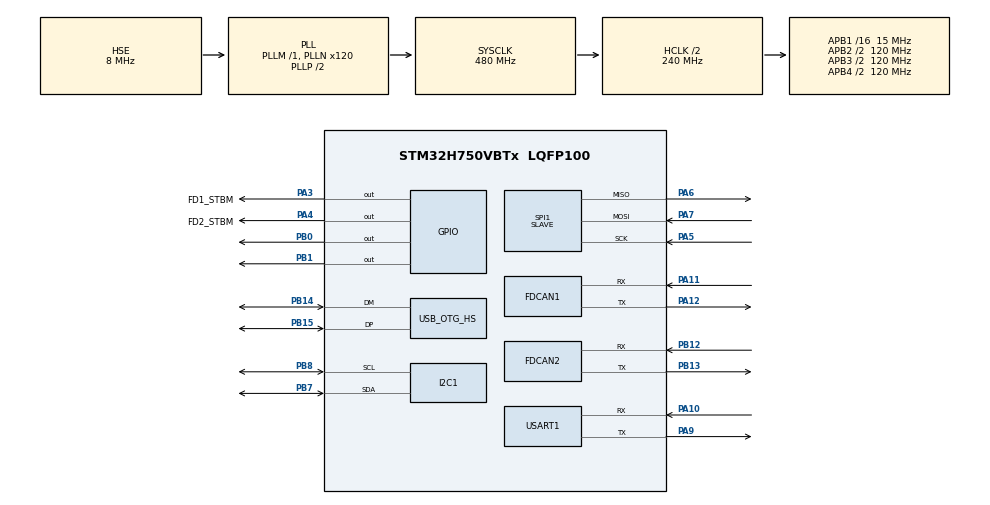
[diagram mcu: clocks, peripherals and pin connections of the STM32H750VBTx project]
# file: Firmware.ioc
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Mcu.Family=STM32H7
NVIC.OTG_HS_IRQn=true\:0\:0\:false\:false\:true\:false\:true
PA6.Mode=Full_Duplex_Slave
TIM2.Channel-Output\ Compare1\ No\ Output=TIM_CHANNEL_1
VP_USB_DEVICE_VS_USB_DEVICE_CDC_HS.Mode=CDC_HS
RCC.CortexFreq_Value=480000000
SPI1.VirtualType=VM_SLAVE
RCC.HPRE=RCC_HCLK_DIV2
PH0-OSC_IN\ (PH0).Signal=RCC_OSC_IN
PC15-OSC32_OUT\ (OSC32_OUT).Mode=LSE-External-Oscillator
FDCAN2.RxFifo0ElmtsNbr=20
RCC.PLLFRACN=0
VP_RTC_VS_RTC_Activate.Mode=RTC_Enabled
PA11.Mode=FDCAN_Activate
NVIC.TIM1_UP_IRQn=true\:0\:0\:false\:false\:true\:false\:true
RCC.PLL2FRACN=0
PA15\ (JTDI).Signal=DEBUG_JTDI
PB15.Signal=USB_OTG_HS_DP
PB13.Signal=FDCAN2_TX
RCC.SYSCLKSource=RCC_SYSCLKSOURCE_PLLCLK
ProjectManager.StackSize=0x400
PA14\ (JTCK/SWCLK).Signal=DEBUG_JTCK-SWCLK
PA15\ (JTDI).Mode=JTAG_5_pins
PA12.Signal=FDCAN1_TX
SPI1.Direction=SPI_DIRECTION_2LINES
RCC.HCLKFreq_Value=240000000
FDCAN1.RxFifo1ElmtSize=FDCAN_DATA_BYTES_8
USB_DEVICE.VirtualMode-CDC_HS=Cdc
PH1-OSC_OUT\ (PH1).Mode=HSE-External-Oscillator
RCC.HSE_VALUE=8000000
VP_TIM2_VS_no_output1.Mode=Output Compare1 No Output
FDCAN1.Mode=FDCAN_MODE_EXTERNAL_LOOPBACK
RCC.DIVM1=1
USART1.VirtualMode-LIN=VM_LIN
USB_DEVICE.USBD_DEBUG_LEVEL-CDC_HS=3
FDCAN1.RxBufferSize=FDCAN_DATA_BYTES_8
PB14.Mode=Device_Only_FS
VP_SYS_VS_tim1.Mode=TIM1
FDCAN1.NominalPrescaler=2
PB7.Signal=I2C1_SDA
PA14\ (JTCK/SWCLK).Mode=JTAG_5_pins
NVIC.FDCAN1_IT1_IRQn=true\:0\:0\:false\:false\:true\:true\:true
FDCAN1.NominalTimeSeg2=3
FDCAN1.NominalTimeSeg1=4
RCC.APB3Freq_Value=120000000
Mcu.Package=LQFP100
TIM2.Prescaler=29
PB1.Signal=GPIO_Output
PA6.Signal=SPI1_MISO
PB12.Mode=FDCAN_Activate
NVIC.TimeBase=TIM1_UP_IRQn
RCC.PLL3FRACN=0
RCC.D1PPRE=RCC_APB3_DIV2
FDCAN1.RxFifo0ElmtsNbr=64
NVIC.TimeBaseIP=TIM1
PA10.Signal=USART1_RX
VP_RTC_VS_RTC_Calendar.Mode=RTC_Calendar
USB_DEVICE.CLASS_NAME_HS=CDC
USB_DEVICE.VirtualModeHS=Cdc_HS
PC14-OSC32_IN\ (OSC32_IN).Mode=LSE-External-Oscillator
RCC.APB4Freq_Value=120000000
FDCAN1.DataTimeSeg2=3
FDCAN1.DataTimeSeg1=4
PB13.Mode=FDCAN_Activate
USB_OTG_HS.dma_enable-Device_Only_FS=DISABLE
PA4.GPIO_Label=FD2_STBM
PH0-OSC_IN\ (PH0).Mode=HSE-External-Oscillator
FDCAN2.RxFifo1ElmtsNbr=20
PA3.Signal=GPIO_Output
NVIC.FDCAN1_IT0_IRQn=true\:0\:0\:false\:false\:true\:true\:true
PA5.Mode=Full_Duplex_Slave
CORTEX_M7.CPU_ICache=Enabled
RCC.DIVQ1=20
PA7.Mode=Full_Duplex_Slave
PA13\ (JTMS/SWDIO).Mode=JTAG_5_pins
PA10.Mode=LIN
FDCAN1.ProtocolException=ENABLE
RCC.D2PPRE2=RCC_APB2_DIV2
RCC.D2PPRE1=RCC_APB1_DIV16
FDCAN1.RxFifo0ElmtSize=FDCAN_DATA_BYTES_8
FDCAN2.TxBuffersNbr=0
USB_OTG_HS.VirtualMode-Device_Only_FS=Device_Only_FS
PH1-OSC_OUT\ (PH1).Signal=RCC_OSC_OUT
PA9.Mode=LIN
PB3\ (JTDO/TRACESWO).Signal=DEBUG_JTDO-SWO
ProjectManager.TargetToolchain=STM32CubeIDE
PC15-OSC32_OUT\ (OSC32_OUT).Signal=RCC_OSC32_OUT
PA9.Signal=USART1_TX
I2C1.Timing=0x00303956
RCC.DIVN1=120
RCC.USBFreq_Value=48000000
PB14.Signal=USB_OTG_HS_DM
PA5.Signal=SPI1_SCK
board=custom
PB15.Mode=Device_Only_FS
FDCAN1.AutoRetransmission=ENABLE
RCC.APB2Freq_Value=120000000
FDCAN1.RxFifo1ElmtsNbr=64
VP_TIM2_VS_ClockSourceINT.Mode=Internal
SPI1.Mode=SPI_MODE_SLAVE
RCC.ADCFreq_Value=16125000
USB_DEVICE.USBD_SELF_POWERED-CDC_HS=0
TIM2.Period=0xFFFFFFFF
PB4\ (NJTRST).Mode=JTAG_5_pins
Mcu.Name=STM32H750VBTx
FDCAN1.DataPrescaler=2
PA4.Signal=GPIO_Output
RCC.SYSCLKFreq_VALUE=480000000
PA12.Mode=FDCAN_Activate
PC14-OSC32_IN\ (OSC32_IN).Signal=RCC_OSC32_IN
PA11.Signal=FDCAN1_RX
PB7.Mode=I2C
ProjectManager.HeapSize=0x200
NVIC.PriorityGroup=NVIC_PRIORITYGROUP_4
FDCAN2.TxFifoQueueElmtsNbr=10
PB3\ (JTDO/TRACESWO).Mode=JTAG_5_pins
PB8.Mode=I2C
PB8.Signal=I2C1_SCL
RCC.D3PPRE=RCC_APB4_DIV2
CORTEX_M7.CPU_DCache=Enabled
RCC.APB1Freq_Value=15000000
PB0.Signal=GPIO_Output
FDCAN1.TxFifoQueueElmtsNbr=32
PB12.Signal=FDCAN2_RX
PA13\ (JTMS/SWDIO).Signal=DEBUG_JTMS-SWDIO
PA3.GPIO_Label=FD1_STBM
PA7.Signal=SPI1_MOSI
PB4\ (NJTRST).Signal=DEBUG_JTRST
FDCAN1.TxElmtSize=FDCAN_DATA_BYTES_8

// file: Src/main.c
/* USER CODE BEGIN Header */
/**
  ******************************************************************************
  * @file           : main.c
  * @brief          : Main program body
  ******************************************************************************
  * @attention
  *
  * <h2><center>&copy; Copyright (c) 2019 STMicroelectronics.
  * All rights reserved.</center></h2>
  *
  * This software component is licensed by ST under Ultimate Liberty license
  * SLA0044, the "License"; You may not use this file except in compliance with
  * the License. You may obtain a copy of the License at:
  *                             www.st.com/SLA0044
  *
  ******************************************************************************
  */
/* USER CODE END Header */

#include "main.h"
#include "usb_device.h"

FDCAN_HandleTypeDef hfdcan1;
FDCAN_HandleTypeDef hfdcan2;

I2C_HandleTypeDef hi2c1;

RTC_HandleTypeDef hrtc;

SPI_HandleTypeDef hspi1;

TIM_HandleTypeDef htim2;

UART_HandleTypeDef huart1;

/* USER CODE BEGIN PV */
extern USBD_HandleTypeDef hUsbDeviceHS;
extern TIM_HandleTypeDef        htim1;
uint8_t ui8SetRequestToUsbCAN1 =0;
/* USER CODE END PV */

void SystemClock_Config(void);
static void MX_GPIO_Init(void);
static void MX_FDCAN1_Init(void);
static void MX_FDCAN2_Init(void);
static void MX_I2C1_Init(void);
static void MX_RTC_Init(void);
static void MX_SPI1_Init(void);
static void MX_USART1_UART_Init(void);
static void MX_TIM2_Init(void);

/* USER CODE BEGIN 0 */
FDCAN_RxHeaderTypeDef RxHeader;
uint8_t RxData[8];
uint8_t FixedTxData[8];
char sText[100];
FDCAN_TxHeaderTypeDef FixedTxHeader;

uint16_t ui16MessageTrigger =0;
uint32_t ui32CounterTransmisionErrorCAN1=0;
uint8_t ui8ErrorTransmisionCAN1 =0;
uint8_t ui16MessageTriggerFlag =0;
uint32_t ui32TimerValue =0;
uint32_t ui32USBerrors =0;
/* USER CODE END 0 */

int main(void)
{

  /* Enable I-Cache---------------------------------------------------------*/
  SCB_EnableICache();

  /* Enable D-Cache---------------------------------------------------------*/
  SCB_EnableDCache();

  /* MCU Configuration--------------------------------------------------------*/

  /* Reset of all peripherals, Initializes the Flash interface and the Systick. */
  HAL_Init();

  /* Configure the system clock */
  SystemClock_Config();

  /* Initialize all configured peripherals */
  MX_GPIO_Init();
  MX_FDCAN1_Init();
  MX_FDCAN2_Init();
  MX_I2C1_Init();
  MX_RTC_Init();
  MX_SPI1_Init();
  MX_USART1_UART_Init();
  MX_USB_DEVICE_Init();
  MX_TIM2_Init();
  /* USER CODE BEGIN 2 */
	/* init code for USB_DEVICE */
	MX_USB_DEVICE_Init();
	/* USER CODE BEGIN 5 */
	GPIOA->ODR &= 0xffe7;
	GPIOB->ODR ^=0x0003;
	//  HAL_FDCAN_Start(&hfdcan1);
	//  HAL_FDCAN_Start(&hfdcan2);
	// USBD_CDC_Init(&hUsbDeviceHS,0);

	ui32CounterTransmisionErrorCAN1 =0;
	HAL_TIM_Base_Start(&htim2);
  /* USER CODE END 2 */

  /* Infinite loop */
  while (1)
  {

    /* USER CODE BEGIN 3 */
	if(ui16MessageTriggerFlag == 1)
	{
		ui16MessageTriggerFlag = 0;
		/* Prepare Tx Header */
		FixedTxHeader.Identifier = 0x321;
		FixedTxHeader.IdType = FDCAN_STANDARD_ID;
		FixedTxHeader.TxFrameType = FDCAN_DATA_FRAME;
		FixedTxHeader.DataLength = FDCAN_DLC_BYTES_3;
		FixedTxHeader.ErrorStateIndicator = FDCAN_ESI_ACTIVE;
		FixedTxHeader.BitRateSwitch = FDCAN_BRS_OFF;
		FixedTxHeader.FDFormat = FDCAN_CLASSIC_CAN;
		FixedTxHeader.TxEventFifoControl = FDCAN_NO_TX_EVENTS;
		FixedTxHeader.MessageMarker = 0;
		/* Set the data to be transmitted */
		FixedTxData[0] = 0xBC;
		FixedTxData[1] = 0xAD;
		FixedTxData[2] ++;

		/* Start the Transmission process */
		while (HAL_FDCAN_AddMessageToTxFifoQ(&hfdcan1, &FixedTxHeader, FixedTxData) != HAL_OK)
		{
		/* Transmission request Error */
		  ui8ErrorTransmisionCAN1 =1;
		  Error_Handler();
		  ui8ErrorTransmisionCAN1 =0;
		}
	}

	if (ui8SetRequestToUsbCAN1==1)
	{
		uint8_t ui8IndexOffset =0;
		uint16_t lui16Lengthpdu = 0;
		uint8_t ui8ErrorUSB=0;

		memcpy(&sText[0],&RxHeader.Identifier,sizeof(RxHeader.Identifier));
		ui8IndexOffset = sizeof(RxHeader.Identifier);
		lui16Lengthpdu = ((uint32_t)RxHeader.DataLength & 0xFFFF0000) >> 16;
		memcpy(&sText[ui8IndexOffset],&lui16Lengthpdu,sizeof(lui16Lengthpdu));
		ui8IndexOffset += sizeof(lui16Lengthpdu);

		memcpy(&sText[ui8IndexOffset],&ui32TimerValue,sizeof(ui32TimerValue));
		ui8IndexOffset += sizeof(ui32TimerValue);
		for (uint8_t ui8Index=0;ui8Index<lui16Lengthpdu;ui8Index++)
		{
			sText[ui8Index +ui8IndexOffset] = RxData[ui8Index];
		}
		ui8ErrorUSB = CDC_Transmit_HS(&sText,512);
		if (ui8ErrorUSB != USBD_OK) ui32USBerrors++;
		GPIOB->ODR ^=0x1;
		ui8SetRequestToUsbCAN1 =0;
	}

  }
  /* USER CODE END 3 */
}

void SystemClock_Config(void)
{
  RCC_OscInitTypeDef RCC_OscInitStruct = {0};
  RCC_ClkInitTypeDef RCC_ClkInitStruct = {0};
  RCC_PeriphCLKInitTypeDef PeriphClkInitStruct = {0};

  /** Supply configuration update enable
  */
  HAL_PWREx_ConfigSupply(PWR_LDO_SUPPLY);
  /** Configure the main internal regulator output voltage
  */
  __HAL_PWR_VOLTAGESCALING_CONFIG(PWR_REGULATOR_VOLTAGE_SCALE0);

  while(!__HAL_PWR_GET_FLAG(PWR_FLAG_VOSRDY)) {}
  /** Initializes the CPU, AHB and APB busses clocks
  */
  RCC_OscInitStruct.OscillatorType = RCC_OSCILLATORTYPE_LSI|RCC_OSCILLATORTYPE_HSE;
  RCC_OscInitStruct.HSEState = RCC_HSE_ON;
  RCC_OscInitStruct.LSIState = RCC_LSI_ON;
  RCC_OscInitStruct.PLL.PLLState = RCC_PLL_ON;
  RCC_OscInitStruct.PLL.PLLSource = RCC_PLLSOURCE_HSE;
  RCC_OscInitStruct.PLL.PLLM = 1;
  RCC_OscInitStruct.PLL.PLLN = 120;
  RCC_OscInitStruct.PLL.PLLP = 2;
  RCC_OscInitStruct.PLL.PLLQ = 20;
  RCC_OscInitStruct.PLL.PLLR = 2;
  RCC_OscInitStruct.PLL.PLLRGE = RCC_PLL1VCIRANGE_3;
  RCC_OscInitStruct.PLL.PLLVCOSEL = RCC_PLL1VCOWIDE;
  RCC_OscInitStruct.PLL.PLLFRACN = 0;
  if (HAL_RCC_OscConfig(&RCC_OscInitStruct) != HAL_OK)
  {
    Error_Handler();
  }
  /** Initializes the CPU, AHB and APB busses clocks
  */
  RCC_ClkInitStruct.ClockType = RCC_CLOCKTYPE_HCLK|RCC_CLOCKTYPE_SYSCLK
                              |RCC_CLOCKTYPE_PCLK1|RCC_CLOCKTYPE_PCLK2
                              |RCC_CLOCKTYPE_D3PCLK1|RCC_CLOCKTYPE_D1PCLK1;
  RCC_ClkInitStruct.SYSCLKSource = RCC_SYSCLKSOURCE_PLLCLK;
  RCC_ClkInitStruct.SYSCLKDivider = RCC_SYSCLK_DIV1;
  RCC_ClkInitStruct.AHBCLKDivider = RCC_HCLK_DIV2;
  RCC_ClkInitStruct.APB3CLKDivider = RCC_APB3_DIV2;
  RCC_ClkInitStruct.APB1CLKDivider = RCC_APB1_DIV16;
  RCC_ClkInitStruct.APB2CLKDivider = RCC_APB2_DIV2;
  RCC_ClkInitStruct.APB4CLKDivider = RCC_APB4_DIV2;

  if (HAL_RCC_ClockConfig(&RCC_ClkInitStruct, FLASH_LATENCY_4) != HAL_OK)
  {
    Error_Handler();
  }
  PeriphClkInitStruct.PeriphClockSelection = RCC_PERIPHCLK_RTC|RCC_PERIPHCLK_FDCAN
                              |RCC_PERIPHCLK_USART1|RCC_PERIPHCLK_SPI1
                              |RCC_PERIPHCLK_I2C1|RCC_PERIPHCLK_USB;
  PeriphClkInitStruct.Spi123ClockSelection = RCC_SPI123CLKSOURCE_PLL;
  PeriphClkInitStruct.FdcanClockSelection = RCC_FDCANCLKSOURCE_PLL;
  PeriphClkInitStruct.Usart16ClockSelection = RCC_USART16CLKSOURCE_D2PCLK2;
  PeriphClkInitStruct.I2c123ClockSelection = RCC_I2C123CLKSOURCE_D2PCLK1;
  PeriphClkInitStruct.UsbClockSelection = RCC_USBCLKSOURCE_PLL;
  PeriphClkInitStruct.RTCClockSelection = RCC_RTCCLKSOURCE_LSI;
  if (HAL_RCCEx_PeriphCLKConfig(&PeriphClkInitStruct) != HAL_OK)
  {
    Error_Handler();
  }
  /** Enable USB Voltage detector
  */
  HAL_PWREx_EnableUSBVoltageDetector();
}

static void MX_FDCAN1_Init(void)
{

  /* USER CODE BEGIN FDCAN1_Init 0 */
	FDCAN_FilterTypeDef sFilterConfig;
  /* USER CODE END FDCAN1_Init 0 */

  hfdcan1.Instance = FDCAN1;
  hfdcan1.Init.FrameFormat = FDCAN_FRAME_CLASSIC;
  hfdcan1.Init.Mode = FDCAN_MODE_EXTERNAL_LOOPBACK;
  hfdcan1.Init.AutoRetransmission = ENABLE;
  hfdcan1.Init.TransmitPause = DISABLE;
  hfdcan1.Init.ProtocolException = ENABLE;
  hfdcan1.Init.NominalPrescaler = 2;
  hfdcan1.Init.NominalSyncJumpWidth = 1;
  hfdcan1.Init.NominalTimeSeg1 = 4;
  hfdcan1.Init.NominalTimeSeg2 = 3;
  hfdcan1.Init.DataPrescaler = 2;
  hfdcan1.Init.DataSyncJumpWidth = 1;
  hfdcan1.Init.DataTimeSeg1 = 4;
  hfdcan1.Init.DataTimeSeg2 = 3;
  hfdcan1.Init.MessageRAMOffset = 0;
  hfdcan1.Init.StdFiltersNbr = 0;
  hfdcan1.Init.ExtFiltersNbr = 0;
  hfdcan1.Init.RxFifo0ElmtsNbr = 64;
  hfdcan1.Init.RxFifo0ElmtSize = FDCAN_DATA_BYTES_8;
  hfdcan1.Init.RxFifo1ElmtsNbr = 64;
  hfdcan1.Init.RxFifo1ElmtSize = FDCAN_DATA_BYTES_8;
  hfdcan1.Init.RxBuffersNbr = 0;
  hfdcan1.Init.RxBufferSize = FDCAN_DATA_BYTES_8;
  hfdcan1.Init.TxEventsNbr = 0;
  hfdcan1.Init.TxBuffersNbr = 0;
  hfdcan1.Init.TxFifoQueueElmtsNbr = 32;
  hfdcan1.Init.TxFifoQueueMode = FDCAN_TX_FIFO_OPERATION;
  hfdcan1.Init.TxElmtSize = FDCAN_DATA_BYTES_8;
  if (HAL_FDCAN_Init(&hfdcan1) != HAL_OK)
  {
    Error_Handler();
  }
  /* USER CODE BEGIN FDCAN1_Init 2 */
  /* Configure Rx filter */
    sFilterConfig.IdType = FDCAN_STANDARD_ID;
    sFilterConfig.FilterIndex = 0;
    sFilterConfig.FilterType = FDCAN_FILTER_MASK;
    sFilterConfig.FilterConfig = FDCAN_FILTER_TO_RXFIFO0;
    sFilterConfig.FilterID1 = 0x7FF;
    sFilterConfig.FilterID2 = 0x7FF;
    if (HAL_FDCAN_ConfigFilter(&hfdcan1, &sFilterConfig) != HAL_OK)
    {
      /* Filter configuration Error */
      Error_Handler();
    }

    /* Configure global filter to reject all non-matching frames */
    HAL_FDCAN_ConfigGlobalFilter(&hfdcan1, FDCAN_ACCEPT_IN_RX_FIFO0, FDCAN_ACCEPT_IN_RX_FIFO0, FDCAN_REJECT_REMOTE, FDCAN_REJECT_REMOTE);
    /* Start the FDCAN module */
	if (HAL_FDCAN_Start(&hfdcan1) != HAL_OK)
	{
	/* Start Error */
	Error_Handler();
	}

	if (HAL_FDCAN_ActivateNotification(&hfdcan1, FDCAN_IT_RX_FIFO0_NEW_MESSAGE, 0) != HAL_OK)
	{
	/* Notification Error */
	Error_Handler();
	}

  /* USER CODE END FDCAN1_Init 2 */

}

static void MX_FDCAN2_Init(void)
{

  hfdcan2.Instance = FDCAN2;
  hfdcan2.Init.FrameFormat = FDCAN_FRAME_CLASSIC;
  hfdcan2.Init.Mode = FDCAN_MODE_NORMAL;
  hfdcan2.Init.AutoRetransmission = DISABLE;
  hfdcan2.Init.TransmitPause = DISABLE;
  hfdcan2.Init.ProtocolException = DISABLE;
  hfdcan2.Init.NominalPrescaler = 1;
  hfdcan2.Init.NominalSyncJumpWidth = 1;
  hfdcan2.Init.NominalTimeSeg1 = 2;
  hfdcan2.Init.NominalTimeSeg2 = 2;
  hfdcan2.Init.DataPrescaler = 1;
  hfdcan2.Init.DataSyncJumpWidth = 1;
  hfdcan2.Init.DataTimeSeg1 = 1;
  hfdcan2.Init.DataTimeSeg2 = 1;
  hfdcan2.Init.MessageRAMOffset = 0;
  hfdcan2.Init.StdFiltersNbr = 0;
  hfdcan2.Init.ExtFiltersNbr = 0;
  hfdcan2.Init.RxFifo0ElmtsNbr = 20;
  hfdcan2.Init.RxFifo0ElmtSize = FDCAN_DATA_BYTES_8;
  hfdcan2.Init.RxFifo1ElmtsNbr = 20;
  hfdcan2.Init.RxFifo1ElmtSize = FDCAN_DATA_BYTES_8;
  hfdcan2.Init.RxBuffersNbr = 0;
  hfdcan2.Init.RxBufferSize = FDCAN_DATA_BYTES_8;
  hfdcan2.Init.TxEventsNbr = 0;
  hfdcan2.Init.TxBuffersNbr = 0;
  hfdcan2.Init.TxFifoQueueElmtsNbr = 10;
  hfdcan2.Init.TxFifoQueueMode = FDCAN_TX_FIFO_OPERATION;
  hfdcan2.Init.TxElmtSize = FDCAN_DATA_BYTES_8;
  if (HAL_FDCAN_Init(&hfdcan2) != HAL_OK)
  {
    Error_Handler();
  }

}

static void MX_I2C1_Init(void)
{

  hi2c1.Instance = I2C1;
  hi2c1.Init.Timing = 0x00303956;
  hi2c1.Init.OwnAddress1 = 0;
  hi2c1.Init.AddressingMode = I2C_ADDRESSINGMODE_7BIT;
  hi2c1.Init.DualAddressMode = I2C_DUALADDRESS_DISABLE;
  hi2c1.Init.OwnAddress2 = 0;
  hi2c1.Init.OwnAddress2Masks = I2C_OA2_NOMASK;
  hi2c1.Init.GeneralCallMode = I2C_GENERALCALL_DISABLE;
  hi2c1.Init.NoStretchMode = I2C_NOSTRETCH_DISABLE;
  if (HAL_I2C_Init(&hi2c1) != HAL_OK)
  {
    Error_Handler();
  }
  /** Configure Analogue filter
  */
  if (HAL_I2CEx_ConfigAnalogFilter(&hi2c1, I2C_ANALOGFILTER_ENABLE) != HAL_OK)
  {
    Error_Handler();
  }
  /** Configure Digital filter
  */
  if (HAL_I2CEx_ConfigDigitalFilter(&hi2c1, 0) != HAL_OK)
  {
    Error_Handler();
  }

}

static void MX_RTC_Init(void)
{

  RTC_TimeTypeDef sTime = {0};
  RTC_DateTypeDef sDate = {0};

  /** Initialize RTC Only
  */
  hrtc.Instance = RTC;
  hrtc.Init.HourFormat = RTC_HOURFORMAT_24;
  hrtc.Init.AsynchPrediv = 127;
  hrtc.Init.SynchPrediv = 255;
  hrtc.Init.OutPut = RTC_OUTPUT_DISABLE;
  hrtc.Init.OutPutPolarity = RTC_OUTPUT_POLARITY_HIGH;
  hrtc.Init.OutPutType = RTC_OUTPUT_TYPE_OPENDRAIN;
  hrtc.Init.OutPutRemap = RTC_OUTPUT_REMAP_NONE;
  if (HAL_RTC_Init(&hrtc) != HAL_OK)
  {
    Error_Handler();
  }

  /** Initialize RTC and set the Time and Date
  */
  sTime.Hours = 0x0;
  sTime.Minutes = 0x0;
  sTime.Seconds = 0x0;
  sTime.DayLightSaving = RTC_DAYLIGHTSAVING_NONE;
  sTime.StoreOperation = RTC_STOREOPERATION_RESET;
  if (HAL_RTC_SetTime(&hrtc, &sTime, RTC_FORMAT_BCD) != HAL_OK)
  {
    Error_Handler();
  }
  sDate.WeekDay = RTC_WEEKDAY_MONDAY;
  sDate.Month = RTC_MONTH_JANUARY;
  sDate.Date = 0x1;
  sDate.Year = 0x0;

  if (HAL_RTC_SetDate(&hrtc, &sDate, RTC_FORMAT_BCD) != HAL_OK)
  {
    Error_Handler();
  }

}

static void MX_SPI1_Init(void)
{

  /* SPI1 parameter configuration*/
  hspi1.Instance = SPI1;
  hspi1.Init.Mode = SPI_MODE_SLAVE;
  hspi1.Init.Direction = SPI_DIRECTION_2LINES;
  hspi1.Init.DataSize = SPI_DATASIZE_4BIT;
  hspi1.Init.CLKPolarity = SPI_POLARITY_LOW;
  hspi1.Init.CLKPhase = SPI_PHASE_1EDGE;
  hspi1.Init.NSS = SPI_NSS_SOFT;
  hspi1.Init.FirstBit = SPI_FIRSTBIT_MSB;
  hspi1.Init.TIMode = SPI_TIMODE_DISABLE;
  hspi1.Init.CRCCalculation = SPI_CRCCALCULATION_DISABLE;
  hspi1.Init.CRCPolynomial = 0x0;
  hspi1.Init.NSSPMode = SPI_NSS_PULSE_DISABLE;
  hspi1.Init.NSSPolarity = SPI_NSS_POLARITY_LOW;
  hspi1.Init.FifoThreshold = SPI_FIFO_THRESHOLD_01DATA;
  hspi1.Init.TxCRCInitializationPattern = SPI_CRC_INITIALIZATION_ALL_ZERO_PATTERN;
  hspi1.Init.RxCRCInitializationPattern = SPI_CRC_INITIALIZATION_ALL_ZERO_PATTERN;
  hspi1.Init.MasterSSIdleness = SPI_MASTER_SS_IDLENESS_00CYCLE;
  hspi1.Init.MasterInterDataIdleness = SPI_MASTER_INTERDATA_IDLENESS_00CYCLE;
  hspi1.Init.MasterReceiverAutoSusp = SPI_MASTER_RX_AUTOSUSP_DISABLE;
  hspi1.Init.MasterKeepIOState = SPI_MASTER_KEEP_IO_STATE_DISABLE;
  hspi1.Init.IOSwap = SPI_IO_SWAP_DISABLE;
  if (HAL_SPI_Init(&hspi1) != HAL_OK)
  {
    Error_Handler();
  }

}

static void MX_TIM2_Init(void)
{

  TIM_ClockConfigTypeDef sClockSourceConfig = {0};
  TIM_MasterConfigTypeDef sMasterConfig = {0};
  TIM_OC_InitTypeDef sConfigOC = {0};

  htim2.Instance = TIM2;
  htim2.Init.Prescaler = 29;
  htim2.Init.CounterMode = TIM_COUNTERMODE_UP;
  htim2.Init.Period = 0xFFFFFFFF;
  htim2.Init.ClockDivision = TIM_CLOCKDIVISION_DIV1;
  htim2.Init.AutoReloadPreload = TIM_AUTORELOAD_PRELOAD_DISABLE;
  if (HAL_TIM_Base_Init(&htim2) != HAL_OK)
  {
    Error_Handler();
  }
  sClockSourceConfig.ClockSource = TIM_CLOCKSOURCE_INTERNAL;
  if (HAL_TIM_ConfigClockSource(&htim2, &sClockSourceConfig) != HAL_OK)
  {
    Error_Handler();
  }
  if (HAL_TIM_OC_Init(&htim2) != HAL_OK)
  {
    Error_Handler();
  }
  sMasterConfig.MasterOutputTrigger = TIM_TRGO_RESET;
  sMasterConfig.MasterSlaveMode = TIM_MASTERSLAVEMODE_DISABLE;
  if (HAL_TIMEx_MasterConfigSynchronization(&htim2, &sMasterConfig) != HAL_OK)
  {
    Error_Handler();
  }
  sConfigOC.OCMode = TIM_OCMODE_TIMING;
  sConfigOC.Pulse = 0;
  sConfigOC.OCPolarity = TIM_OCPOLARITY_HIGH;
  sConfigOC.OCFastMode = TIM_OCFAST_DISABLE;
  if (HAL_TIM_OC_ConfigChannel(&htim2, &sConfigOC, TIM_CHANNEL_1) != HAL_OK)
  {
    Error_Handler();
  }

}

static void MX_USART1_UART_Init(void)
{

  huart1.Instance = USART1;
  huart1.Init.BaudRate = 115200;
  huart1.Init.WordLength = UART_WORDLENGTH_8B;
  huart1.Init.StopBits = UART_STOPBITS_1;
  huart1.Init.Parity = UART_PARITY_NONE;
  huart1.Init.Mode = UART_MODE_TX_RX;
  huart1.Init.HwFlowCtl = UART_HWCONTROL_NONE;
  huart1.Init.OverSampling = UART_OVERSAMPLING_16;
  huart1.Init.OneBitSampling = UART_ONE_BIT_SAMPLE_DISABLE;
  huart1.Init.ClockPrescaler = UART_PRESCALER_DIV1;
  huart1.AdvancedInit.AdvFeatureInit = UART_ADVFEATURE_NO_INIT;
  if (HAL_LIN_Init(&huart1, UART_LINBREAKDETECTLENGTH_10B) != HAL_OK)
  {
    Error_Handler();
  }
  if (HAL_UARTEx_SetTxFifoThreshold(&huart1, UART_TXFIFO_THRESHOLD_1_8) != HAL_OK)
  {
    Error_Handler();
  }
  if (HAL_UARTEx_SetRxFifoThreshold(&huart1, UART_RXFIFO_THRESHOLD_1_8) != HAL_OK)
  {
    Error_Handler();
  }
  if (HAL_UARTEx_DisableFifoMode(&huart1) != HAL_OK)
  {
    Error_Handler();
  }

}

static void MX_GPIO_Init(void)
{
  GPIO_InitTypeDef GPIO_InitStruct = {0};

  /* GPIO Ports Clock Enable */
  __HAL_RCC_GPIOC_CLK_ENABLE();
  __HAL_RCC_GPIOH_CLK_ENABLE();
  __HAL_RCC_GPIOA_CLK_ENABLE();
  __HAL_RCC_GPIOB_CLK_ENABLE();

  /*Configure GPIO pin Output Level */
  HAL_GPIO_WritePin(GPIOA, FD1_STBM_Pin|FD2_STBM_Pin, GPIO_PIN_RESET);

  /*Configure GPIO pin Output Level */
  HAL_GPIO_WritePin(GPIOB, GPIO_PIN_0|GPIO_PIN_1, GPIO_PIN_RESET);

  /*Configure GPIO pins : FD1_STBM_Pin FD2_STBM_Pin */
  GPIO_InitStruct.Pin = FD1_STBM_Pin|FD2_STBM_Pin;
  GPIO_InitStruct.Mode = GPIO_MODE_OUTPUT_PP;
  GPIO_InitStruct.Pull = GPIO_NOPULL;
  GPIO_InitStruct.Speed = GPIO_SPEED_FREQ_LOW;
  HAL_GPIO_Init(GPIOA, &GPIO_InitStruct);

  /*Configure GPIO pins : PB0 PB1 */
  GPIO_InitStruct.Pin = GPIO_PIN_0|GPIO_PIN_1;
  GPIO_InitStruct.Mode = GPIO_MODE_OUTPUT_PP;
  GPIO_InitStruct.Pull = GPIO_NOPULL;
  GPIO_InitStruct.Speed = GPIO_SPEED_FREQ_LOW;
  HAL_GPIO_Init(GPIOB, &GPIO_InitStruct);

}

/* USER CODE BEGIN 4 */
/**
  * @brief  Rx FIFO 0 callback.
  * @param  hfdcan: pointer to an FDCAN_HandleTypeDef structure that contains
  *         the configuration information for the specified FDCAN.
  * @param  RxFifo0ITs: indicates which Rx FIFO 0 interrupts are signalled.
  *                     This parameter can be any combination of @arg FDCAN_Rx_Fifo0_Interrupts.
  * @retval None
  */
void HAL_FDCAN_RxFifo0Callback(FDCAN_HandleTypeDef *hfdcan, uint32_t RxFifo0ITs)
{
  GPIOB->ODR ^=0x2;
  if((RxFifo0ITs & FDCAN_IT_RX_FIFO0_NEW_MESSAGE) != RESET)
  {
    /* Retreive Rx messages from RX FIFO0 */
    if (HAL_FDCAN_GetRxMessage(hfdcan, FDCAN_RX_FIFO0, &RxHeader, RxData) != HAL_OK)
    {
    /* Reception Error */
    Error_Handler();
    }

    ui32TimerValue = __HAL_TIM_GET_COUNTER(&htim2);
    ui8SetRequestToUsbCAN1=1;
    if (HAL_FDCAN_ActivateNotification(hfdcan, FDCAN_IT_RX_FIFO0_NEW_MESSAGE, 0) != HAL_OK)
    {
      /* Notification Error */
      Error_Handler();
    }
  }
}
/* USER CODE END 4 */

void HAL_TIM_PeriodElapsedCallback(TIM_HandleTypeDef *htim)
{
  if (htim->Instance == TIM1) {
    HAL_IncTick();
  }
  /* USER CODE BEGIN Callback 1 */
  if (htim->Instance == TIM1) {
	    ui16MessageTrigger++;
	    if ((ui16MessageTrigger%20) == 0)
	    {
	    	ui16MessageTriggerFlag = 1;
	    };
	  }
  /* USER CODE END Callback 1 */
}

void Error_Handler(void)
{
  /* USER CODE BEGIN Error_Handler_Debug */
  /* User can add his own implementation to report the HAL error return state */
	if (ui8ErrorTransmisionCAN1 == 1)
	{
		ui32CounterTransmisionErrorCAN1++;
	}
	else
	{
      while(1);
	}
  /* USER CODE END Error_Handler_Debug */
}

/************************ (C) COPYRIGHT STMicroelectronics *****END OF FILE****/
